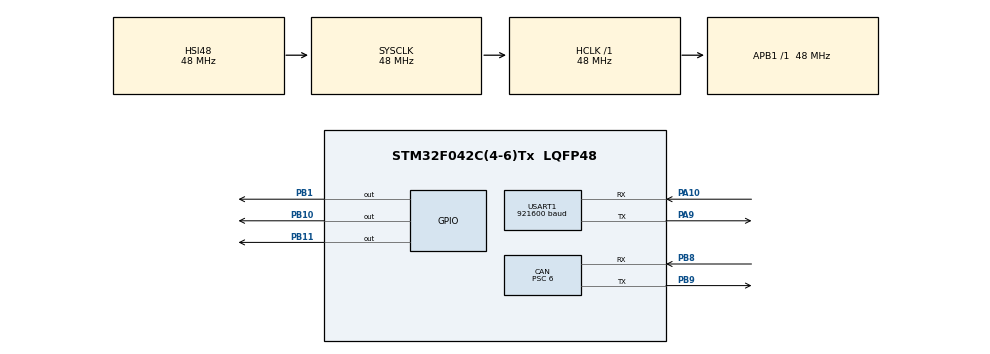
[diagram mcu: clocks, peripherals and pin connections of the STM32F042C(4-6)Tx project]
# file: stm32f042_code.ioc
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CAN.BS1=CAN_BS1_13TQ
CAN.BS2=CAN_BS2_2TQ
CAN.CalculateBaudRate=500000
CAN.CalculateTimeBit=2000
CAN.CalculateTimeQuantum=125.0
CAN.Prescaler=6
Mcu.Family=STM32F0
Mcu.Name=STM32F042C(4-6)Tx
Mcu.Package=LQFP48
NVIC.CEC_CAN_IRQn=true\:0\:0\:false\:false\:true\:true\:true\:true
NVIC.TIM17_IRQn=true\:0\:0\:false\:false\:true\:true\:true\:true
NVIC.USART1_IRQn=true\:0\:0\:false\:false\:true\:true\:true\:true
PA10.Mode=Asynchronous
PA10.Signal=USART1_RX
PA13.Mode=Serial_Wire
PA13.Signal=SYS_SWDIO
PA14.Mode=Serial_Wire
PA14.Signal=SYS_SWCLK
PA9.Mode=Asynchronous
PA9.Signal=USART1_TX
PB1.Signal=GPIO_Output
PB10.Signal=GPIO_Output
PB11.Signal=GPIO_Output
PB8.Mode=CAN_Activate
PB8.Signal=CAN_RX
PB9.Mode=CAN_Activate
PB9.Signal=CAN_TX
ProjectManager.HeapSize=0x200
ProjectManager.StackSize=0x400
ProjectManager.TargetToolchain=STM32CubeIDE
RCC.AHBFreq_Value=48000000
RCC.APB1Freq_Value=48000000
RCC.APB1TimFreq_Value=48000000
RCC.HCLKFreq_Value=48000000
RCC.SYSCLKFreq_VALUE=48000000
RCC.SYSCLKSource=RCC_SYSCLKSOURCE_HSI48
TIM17.Period=53-1
TIM17.Prescaler=1-1
USART1.BaudRate=921600
USART1.VirtualMode-Asynchronous=VM_ASYNC
VP_TIM17_VS_ClockSourceINT.Mode=Enable_Timer
board=custom

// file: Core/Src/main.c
/* USER CODE BEGIN Header */
/**
  ******************************************************************************
  * @file           : main.c
  * @brief          : Main program body
  ******************************************************************************
  * @attention
  *
  * Copyright (c) 2022 STMicroelectronics.
  * All rights reserved.
  *
  * This software is licensed under terms that can be found in the LICENSE file
  * in the root directory of this software component.
  * If no LICENSE file comes with this software, it is provided AS-IS.
  *
  ******************************************************************************
  */
/* USER CODE END Header */
#include "main.h"

/* USER CODE BEGIN Includes */
#include "string.h"
/* USER CODE END Includes */

/* USER CODE BEGIN PTD */
CAN_FilterTypeDef 		canfilterconfig;
/* USER CODE END PTD */

 CAN_HandleTypeDef hcan;

TIM_HandleTypeDef htim17;

UART_HandleTypeDef huart1;

/* USER CODE BEGIN PV */
uint8_t 	 		RxData[21];
uint8_t 	 		TxData[21];
unsigned int 			baudrateThousand,
			 	baudrateHundred,
				baudrateTen,
				baudrateUnit;
uint8_t      			myIDstring[3];
unsigned int 			myID;
unsigned int 			canBaudrate;
uint32_t     			i =0;
uint8_t  	 		Data1String[2],
		 	 	Data2String[2],
				Data3String[2],
				Data4String[2],
				Data5String[2],
				Data6String[2],
				Data7String[2],
				Data8String[2];
unsigned int 			Data1,
			 	Data2,
				Data3,
				Data4,
				Data5,
				Data6,
				Data7,
				Data8;
CAN_TxHeaderTypeDef 		TxHeader;
CAN_RxHeaderTypeDef 		RxHeader;
uint32_t 			TxMailbox;
uint8_t 			canTxData[8],
        			canRxData[8];
/* USER CODE END PV */

void SystemClock_Config(void);
static void MX_GPIO_Init(void);
static void MX_USART1_UART_Init(void);
static void MX_TIM17_Init(void);
static void MX_CAN_Init(void);
/* USER CODE BEGIN PFP */
void HAL_TIM_PeriodElapsedCallback(TIM_HandleTypeDef *htim)
{
  i++;
}
void HAL_UART_RxCpltCallback(UART_HandleTypeDef *huart)
{
	 HAL_UART_Receive_IT(&huart1, RxData, 21);
	 if(RxData[4] == '*')
	 {
		 sscanf(&RxData[0],"%01d",&baudrateThousand);
		 sscanf(&RxData[1],"%01d",&baudrateHundred);
		 sscanf(&RxData[2],"%01d",&baudrateTen);
		 sscanf(&RxData[3],"%01d",&baudrateUnit);

		 canBaudrate = (1000*baudrateThousand) + (100*baudrateHundred) + (10*baudrateTen) + (baudrateUnit);

		 HAL_CAN_DeInit(&hcan);

         if(canBaudrate == 800 || canBaudrate == 400 || canBaudrate == 80)
         {

        	 hcan.Instance = CAN;
        	 hcan.Init.Prescaler = 48000.0 / (canBaudrate * 15);
        	 hcan.Init.Mode = CAN_MODE_NORMAL;
        	 hcan.Init.SyncJumpWidth = CAN_SJW_1TQ;
        	 hcan.Init.TimeSeg1 = CAN_BS1_12TQ;
        	 hcan.Init.TimeSeg2 = CAN_BS2_2TQ;
        	 hcan.Init.TimeTriggeredMode = DISABLE;
        	 hcan.Init.AutoBusOff = DISABLE;
        	 hcan.Init.AutoWakeUp = DISABLE;
        	 hcan.Init.AutoRetransmission = DISABLE;
        	 hcan.Init.ReceiveFifoLocked = DISABLE;
        	 hcan.Init.TransmitFifoPriority = DISABLE;
        	 if (HAL_CAN_Init(&hcan) != HAL_OK)
        	   {
        	     Error_Handler();
        	   }
         }else

         {

		 hcan.Instance = CAN;
		 hcan.Init.Prescaler = 48000.0 / (canBaudrate * 16);
		 hcan.Init.Mode = CAN_MODE_NORMAL;
		 hcan.Init.SyncJumpWidth = CAN_SJW_1TQ;
		 hcan.Init.TimeSeg1 = CAN_BS1_13TQ;
		 hcan.Init.TimeSeg2 = CAN_BS2_2TQ;
		 hcan.Init.TimeTriggeredMode = DISABLE;
		 hcan.Init.AutoBusOff = DISABLE;
		 hcan.Init.AutoWakeUp = DISABLE;
		 hcan.Init.AutoRetransmission = DISABLE;
		 hcan.Init.ReceiveFifoLocked = DISABLE;
		 hcan.Init.TransmitFifoPriority = DISABLE;

		 if (HAL_CAN_Init(&hcan) != HAL_OK)
		   {
		     Error_Handler();
		   }
         }
		 canfilterconfig.FilterActivation = CAN_FILTER_ENABLE;
		 canfilterconfig.FilterBank = 13;
		 canfilterconfig.FilterFIFOAssignment = CAN_FILTER_FIFO0;
		 canfilterconfig.FilterIdHigh = 0x0000;
		 canfilterconfig.FilterIdLow = 0;
		 canfilterconfig.FilterMaskIdHigh = 0x0000;
		 canfilterconfig.FilterMaskIdLow = 0x0000;
		 canfilterconfig.FilterMode = CAN_FILTERMODE_IDMASK;
		 canfilterconfig.FilterScale = CAN_FILTERSCALE_32BIT;

		 HAL_CAN_ConfigFilter(&hcan, &canfilterconfig);

		 HAL_CAN_Start(&hcan);

		 memset(RxData,0,21);
	 }else
	 {

	 sprintf(myIDstring,"%c%c%c",RxData[0],RxData[1],RxData[2]);
	 sscanf(myIDstring,"%03X",&myID);
	 TxHeader.IDE=CAN_ID_STD;
	 TxHeader.StdId = myID;

	 if(RxData[3] == 0)
	 {
		 TxHeader.RTR = CAN_RTR_DATA;
		 TxHeader.DLC = RxData[4];
		 sprintf(Data1String,"%c%c",RxData[5],RxData[6]);
		 sscanf(Data1String,"%02X",&Data1);
		 sprintf(Data2String,"%c%c",RxData[7],RxData[8]);
		 sscanf(Data2String,"%02X",&Data2);
		 sprintf(Data3String,"%c%c",RxData[9],RxData[10]);
		 sscanf(Data3String,"%02X",&Data3);
		 sprintf(Data4String,"%c%c",RxData[11],RxData[12]);
		 sscanf(Data4String,"%02X",&Data4);
		 sprintf(Data5String,"%c%c",RxData[13],RxData[14]);
		 sscanf(Data5String,"%02X",&Data5);
		 sprintf(Data6String,"%c%c",RxData[15],RxData[16]);
		 sscanf(Data6String,"%02X",&Data6);
		 sprintf(Data7String,"%c%c",RxData[17],RxData[18]);
		 sscanf(Data7String,"%02X",&Data7);
		 sprintf(Data7String,"%c%c",RxData[19],RxData[20]);
		 sscanf(Data8String,"%02X",&Data8);
		 canTxData[0] = Data1;
		 canTxData[1] = Data2;
		 canTxData[2] = Data3;
		 canTxData[3] = Data4;
		 canTxData[4] = Data5;
		 canTxData[5] = Data6;
		 canTxData[6] = Data7;
		 canTxData[7] = Data8;
		if(HAL_CAN_AddTxMessage(&hcan, &TxHeader, canTxData, &TxMailbox) != HAL_OK)
		{
			HAL_TIM_Base_Start_IT(&htim17);
				if (i >= 28)
				{
					Error_Handler();
				}
		}
		memset(RxData,0,21);
	 }else if(RxData[3] == 1)
	 {
		 TxHeader.RTR = CAN_RTR_REMOTE;
		 TxHeader.DLC = 0;
		 if(HAL_CAN_AddTxMessage(&hcan, &TxHeader, canTxData, &TxMailbox) != HAL_OK)
		 {
		 	    HAL_TIM_Base_Start_IT(&htim17);
		 		if (i >= 28)
		 		{
		 			Error_Handler();
		        }
		 }
		 memset(RxData,0,21);
	 }
    }
}

void HAL_CAN_RxFifo0MsgPendingCallback(CAN_HandleTypeDef *hcan)
{
 HAL_CAN_GetRxMessage(hcan, CAN_RX_FIFO0, &RxHeader, canRxData);

 if(RxHeader.RTR == CAN_RTR_REMOTE)
 {
	 sprintf(TxData,"%03X100000000000000000",RxHeader.StdId);
	 HAL_UART_Transmit_IT(&huart1, TxData, sprintf(TxData,"%03X100000000000000000",RxHeader.StdId));
 }else if(RxHeader.RTR == CAN_RTR_DATA)
 {
	switch(RxHeader.DLC)
	{
	case 0:
		sprintf(TxData,"%03X000000000000000000",RxHeader.StdId);
		HAL_UART_Transmit_IT(&huart1, TxData, sprintf(TxData,"%03X000000000000000000",RxHeader.StdId));
		break;
	case 1:
		sprintf(TxData,"%03X01%02X00000000000000",RxHeader.StdId,canRxData[0]);
		HAL_UART_Transmit_IT(&huart1, TxData, sprintf(TxData,"%03X01%02X00000000000000",RxHeader.StdId,canRxData[0]));
		break;
	case 2:
		sprintf(TxData,"%03X02%02X%02X000000000000",RxHeader.StdId,canRxData[0],canRxData[1]);
		HAL_UART_Transmit_IT(&huart1, TxData, sprintf(TxData,"%03X02%02X%02X000000000000",RxHeader.StdId,canRxData[0],canRxData[1]));
		break;
	case 3:
		sprintf(TxData,"%03X03%02X%02X%02X0000000000",RxHeader.StdId,canRxData[0],canRxData[1],canRxData[2]);
		HAL_UART_Transmit_IT(&huart1, TxData, sprintf(TxData,"%03X03%02X%02X%02X0000000000",RxHeader.StdId,canRxData[0],canRxData[1],canRxData[2]));
		break;
	case 4:
		sprintf(TxData,"%03X04%02X%02X%02X%02X00000000",RxHeader.StdId,canRxData[0],canRxData[1],canRxData[2],canRxData[3]);
		HAL_UART_Transmit_IT(&huart1, TxData, sprintf(TxData,"%03X04%02X%02X%02X%02X00000000",RxHeader.StdId,canRxData[0],canRxData[1],canRxData[2],canRxData[3]));
		break;
	case 5:
		sprintf(TxData,"%03X05%02X%02X%02X%02X%02X000000",RxHeader.StdId,canRxData[0],canRxData[1],canRxData[2],canRxData[3],canRxData[4]);
		HAL_UART_Transmit_IT(&huart1, TxData, sprintf(TxData,"%03X05%02X%02X%02X%02X%02X000000",RxHeader.StdId,canRxData[0],canRxData[1],canRxData[2],canRxData[3],canRxData[4]));
		break;
	case 6:
		sprintf(TxData,"%03X06%02X%02X%02X%02X%02X%02X0000",RxHeader.StdId,canRxData[0],canRxData[1],canRxData[2],canRxData[3],canRxData[4],canRxData[5]);
		HAL_UART_Transmit_IT(&huart1, TxData, sprintf(TxData,"%03X06%02X%02X%02X%02X%02X%02X0000",RxHeader.StdId,canRxData[0],canRxData[1],canRxData[2],canRxData[3],canRxData[4],canRxData[5]));
		break;
	case 7:
		sprintf(TxData,"%03X07%02X%02X%02X%02X%02X%02X%02X00",RxHeader.StdId,canRxData[0],canRxData[1],canRxData[2],canRxData[3],canRxData[4],canRxData[5],canRxData[6]);
		HAL_UART_Transmit_IT(&huart1, TxData, sprintf(TxData,"%03X07%02X%02X%02X%02X%02X%02X%02X00",RxHeader.StdId,canRxData[0],canRxData[1],canRxData[2],canRxData[3],canRxData[4],canRxData[5],canRxData[6]));
		break;
	case 8:
		sprintf(TxData,"%03X08%02X%02X%02X%02X%02X%02X%02X%02X",RxHeader.StdId,canRxData[0],canRxData[1],canRxData[2],canRxData[3],canRxData[4],canRxData[5],canRxData[6],canRxData[7]);
		HAL_UART_Transmit_IT(&huart1, TxData, sprintf(TxData,"%03X08%02X%02X%02X%02X%02X%02X%02X%02X",RxHeader.StdId,canRxData[0],canRxData[1],canRxData[2],canRxData[3],canRxData[4],canRxData[5],canRxData[6],canRxData[7]));
		break;
	default:
		break;
	}
 }
}
void HAL_UART_TxCpltCallback(UART_HandleTypeDef *huart)
{
	 memset(TxData,0,21);
}
/* USER CODE END PFP */

int main(void)
{

  /* MCU Configuration--------------------------------------------------------*/

  /* Reset of all peripherals, Initializes the Flash interface and the Systick. */
  HAL_Init();

  /* Configure the system clock */
  SystemClock_Config();

  /* Initialize all configured peripherals */
  MX_GPIO_Init();
  MX_USART1_UART_Init();
  MX_TIM17_Init();
  MX_CAN_Init();
  /* USER CODE BEGIN 2 */

HAL_UART_Receive_IT(&huart1, RxData, 21);

HAL_CAN_ActivateNotification(&hcan, CAN_IT_RX_FIFO0_MSG_PENDING);

  /* USER CODE END 2 */

  /* Infinite loop */
  while (1)
  {

    /* USER CODE BEGIN 3 */
	  HAL_GPIO_WritePin(GPIOB, GPIO_PIN_1|GPIO_PIN_10|GPIO_PIN_11, GPIO_PIN_SET);
  }
  /* USER CODE END 3 */
}

void SystemClock_Config(void)
{
  RCC_OscInitTypeDef RCC_OscInitStruct = {0};
  RCC_ClkInitTypeDef RCC_ClkInitStruct = {0};
  RCC_PeriphCLKInitTypeDef PeriphClkInit = {0};

  /** Initializes the RCC Oscillators according to the specified parameters
  * in the RCC_OscInitTypeDef structure.
  */
  RCC_OscInitStruct.OscillatorType = RCC_OSCILLATORTYPE_HSI48;
  RCC_OscInitStruct.HSI48State = RCC_HSI48_ON;
  RCC_OscInitStruct.PLL.PLLState = RCC_PLL_NONE;
  if (HAL_RCC_OscConfig(&RCC_OscInitStruct) != HAL_OK)
  {
    Error_Handler();
  }

  /** Initializes the CPU, AHB and APB buses clocks
  */
  RCC_ClkInitStruct.ClockType = RCC_CLOCKTYPE_HCLK|RCC_CLOCKTYPE_SYSCLK
                              |RCC_CLOCKTYPE_PCLK1;
  RCC_ClkInitStruct.SYSCLKSource = RCC_SYSCLKSOURCE_HSI48;
  RCC_ClkInitStruct.AHBCLKDivider = RCC_SYSCLK_DIV1;
  RCC_ClkInitStruct.APB1CLKDivider = RCC_HCLK_DIV1;

  if (HAL_RCC_ClockConfig(&RCC_ClkInitStruct, FLASH_LATENCY_1) != HAL_OK)
  {
    Error_Handler();
  }
  PeriphClkInit.PeriphClockSelection = RCC_PERIPHCLK_USART1;
  PeriphClkInit.Usart1ClockSelection = RCC_USART1CLKSOURCE_PCLK1;
  if (HAL_RCCEx_PeriphCLKConfig(&PeriphClkInit) != HAL_OK)
  {
    Error_Handler();
  }
}

static void MX_CAN_Init(void)
{

  hcan.Instance = CAN;
  hcan.Init.Prescaler = 6;
  hcan.Init.Mode = CAN_MODE_NORMAL;
  hcan.Init.SyncJumpWidth = CAN_SJW_1TQ;
  hcan.Init.TimeSeg1 = CAN_BS1_13TQ;
  hcan.Init.TimeSeg2 = CAN_BS2_2TQ;
  hcan.Init.TimeTriggeredMode = DISABLE;
  hcan.Init.AutoBusOff = DISABLE;
  hcan.Init.AutoWakeUp = DISABLE;
  hcan.Init.AutoRetransmission = DISABLE;
  hcan.Init.ReceiveFifoLocked = DISABLE;
  hcan.Init.TransmitFifoPriority = DISABLE;
  if (HAL_CAN_Init(&hcan) != HAL_OK)
  {
    Error_Handler();
  }

}

static void MX_TIM17_Init(void)
{

  htim17.Instance = TIM17;
  htim17.Init.Prescaler = 1-1;
  htim17.Init.CounterMode = TIM_COUNTERMODE_UP;
  htim17.Init.Period = 53-1;
  htim17.Init.ClockDivision = TIM_CLOCKDIVISION_DIV1;
  htim17.Init.RepetitionCounter = 0;
  htim17.Init.AutoReloadPreload = TIM_AUTORELOAD_PRELOAD_DISABLE;
  if (HAL_TIM_Base_Init(&htim17) != HAL_OK)
  {
    Error_Handler();
  }

}

static void MX_USART1_UART_Init(void)
{

  huart1.Instance = USART1;
  huart1.Init.BaudRate = 921600;
  huart1.Init.WordLength = UART_WORDLENGTH_8B;
  huart1.Init.StopBits = UART_STOPBITS_1;
  huart1.Init.Parity = UART_PARITY_NONE;
  huart1.Init.Mode = UART_MODE_TX_RX;
  huart1.Init.HwFlowCtl = UART_HWCONTROL_NONE;
  huart1.Init.OverSampling = UART_OVERSAMPLING_16;
  huart1.Init.OneBitSampling = UART_ONE_BIT_SAMPLE_DISABLE;
  huart1.AdvancedInit.AdvFeatureInit = UART_ADVFEATURE_NO_INIT;
  if (HAL_UART_Init(&huart1) != HAL_OK)
  {
    Error_Handler();
  }

}

static void MX_GPIO_Init(void)
{
  GPIO_InitTypeDef GPIO_InitStruct = {0};

  /* GPIO Ports Clock Enable */
  __HAL_RCC_GPIOB_CLK_ENABLE();
  __HAL_RCC_GPIOA_CLK_ENABLE();

  /*Configure GPIO pin Output Level */
  HAL_GPIO_WritePin(GPIOB, GPIO_PIN_1|GPIO_PIN_10|GPIO_PIN_11, GPIO_PIN_RESET);

  /*Configure GPIO pins : PB1 PB10 PB11 */
  GPIO_InitStruct.Pin = GPIO_PIN_1|GPIO_PIN_10|GPIO_PIN_11;
  GPIO_InitStruct.Mode = GPIO_MODE_OUTPUT_PP;
  GPIO_InitStruct.Pull = GPIO_NOPULL;
  GPIO_InitStruct.Speed = GPIO_SPEED_FREQ_LOW;
  HAL_GPIO_Init(GPIOB, &GPIO_InitStruct);

}

void Error_Handler(void)
{
  /* USER CODE BEGIN Error_Handler_Debug */
  /* User can add his own implementation to report the HAL error return state */
  __disable_irq();
  while (1)
  {
	  HAL_GPIO_WritePin(GPIOB, GPIO_PIN_1|GPIO_PIN_10|GPIO_PIN_11, GPIO_PIN_RESET);
	  HAL_Delay(100);
	  HAL_GPIO_WritePin(GPIOB, GPIO_PIN_1|GPIO_PIN_10|GPIO_PIN_11, GPIO_PIN_SET);
  }
  /* USER CODE END Error_Handler_Debug */
}
